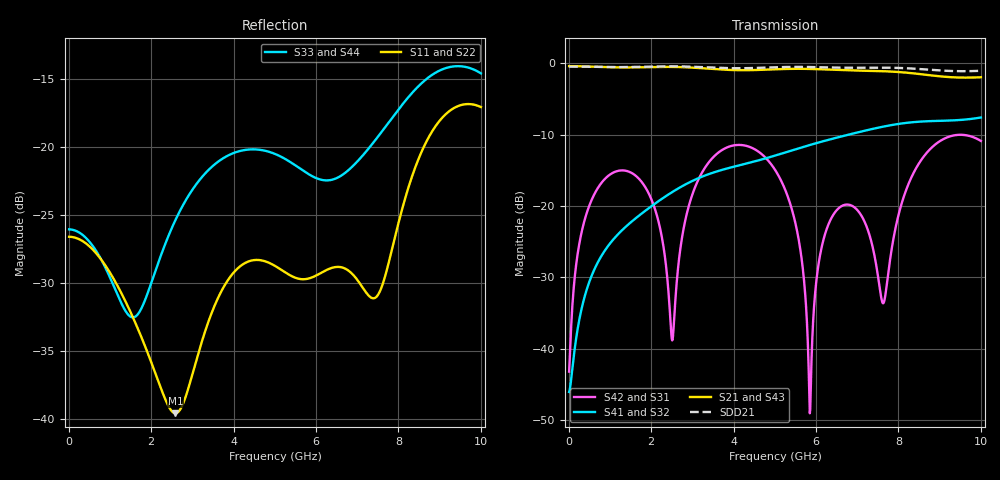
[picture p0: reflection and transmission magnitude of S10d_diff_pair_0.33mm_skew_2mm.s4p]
! kicad_em_sim: S-parameters of 4 ports, openEMS
# Hz S RI R 50
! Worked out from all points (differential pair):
!   1000 points, 10 MHz to 10 GHz, reference 50 ohm
!   strongest paths, dB at 10 MHz, 2.51 GHz, 5.01 GHz, 7.51 GHz, 10 GHz:
!     S21: -0.4, -0.5, -0.9, -1.1, -2.0
!     S43: -0.5, -0.5, -0.9, -1.2, -2.1
!     S41: -46.1, -18.1, -12.9, -9.0, -7.6
!     S32: -46.1, -18.1, -12.9, -9.0, -7.6
!     S42: -43.2, -38.9, -15.0, -30.1, -10.9
!     S31: -43.2, -38.9, -15.0, -30.1, -10.9
!   taken as a pair (ports 1,3 in; 2,4 out), SDD21 dB: -0.5, -0.4, -0.6, -0.6, -1.1
!   lowest |S11| = -39.6 dB at 2.59 GHz (marker M1), VSWR 1.02, Z = 51 - j0.441 ohm
!   |S11| at or under -10 dB: start of sweep to end of sweep
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1e7  -0.0467 0.000747  0.9527 -0.011  0.00658 0.00205  0.00492 -0.000661
     0.9527 -0.011  -0.0467 0.000747  0.00492 -0.000661  0.00658 0.00205
     0.00658 0.00205  0.00492 -0.000661  -0.0497 0.000599  0.9494 -0.0115
     0.00492 -0.000661  0.00658 0.00205  0.9494 -0.0115  -0.0497 0.000599
1.06e9  0.00465 0.033  0.3329 -0.8746  0.1602 0.0564  -0.0548 -0.0164
        0.3329 -0.8746  0.00465 0.033  -0.0548 -0.0164  0.1602 0.0564
        0.1602 0.0564  -0.0548 -0.0164  -0.0148 0.0279  0.2826 -0.8896
        -0.0548 -0.0164  0.1602 0.0564  0.2826 -0.8896  -0.0148 0.0279
2.59e9  0.00954 -0.00433  -0.9216 -0.1886  0.00937 0.0203  -0.0123 0.1284
        -0.9216 -0.1886  0.00954 -0.00433  -0.0123 0.1284  0.00937 0.0203
        0.00938 0.0203  -0.0123 0.1284  0.00343 0.0537  -0.936 -0.0575
        -0.0123 0.1284  0.00938 0.0203  -0.936 -0.0575  0.00343 0.0537
5.45e9  -0.0225 0.0244  0.9044 0.1236  -0.00358 -0.0867  -0.0127 -0.2465
        0.9044 0.1236  -0.0225 0.0244  -0.0127 -0.2465  -0.00358 -0.0867
        -0.00357 -0.0866  -0.0127 -0.2461  -0.039 -0.077  0.8939 -0.1466
        -0.0127 -0.2461  -0.00357 -0.0866  0.8939 -0.1466  -0.039 -0.077
5.85e9  0.00417 0.0326  0.8628 -0.2927  -0.00335 0.00103  -0.1299 -0.2337
        0.8628 -0.2927  0.00417 0.0326  -0.1299 -0.2337  -0.00335 0.00103
        -0.00336 0.00104  -0.1295 -0.2335  -0.0575 -0.0538  0.7206 -0.5471
        -0.1295 -0.2335  -0.00336 0.00104  0.7206 -0.5471  -0.0575 -0.0538
7.83e9  0.0409 -0.00458  -0.7439 -0.4571  0.00916 0.0476  -0.1106 0.3501
        -0.7439 -0.4571  0.0409 -0.00458  -0.1106 0.3501  0.00916 0.0476
        0.00918 0.0478  -0.1111 0.3511  0.0118 0.1261  -0.8582 -0.0844
        -0.1111 0.3511  0.00918 0.0478  -0.8582 -0.0844  0.0118 0.1261
1e10  -0.1025 -0.095  0.2118 0.7678  0.2282 -0.172  0.3389 -0.2432
      0.2118 0.7678  -0.1025 -0.095  0.3389 -0.2432  0.2282 -0.172
      0.2272 -0.1721  0.3374 -0.2435  -0.0135 -0.1854  0.5948 0.5089
      0.3374 -0.2435  0.2272 -0.1721  0.5948 0.5089  -0.0135 -0.1854
